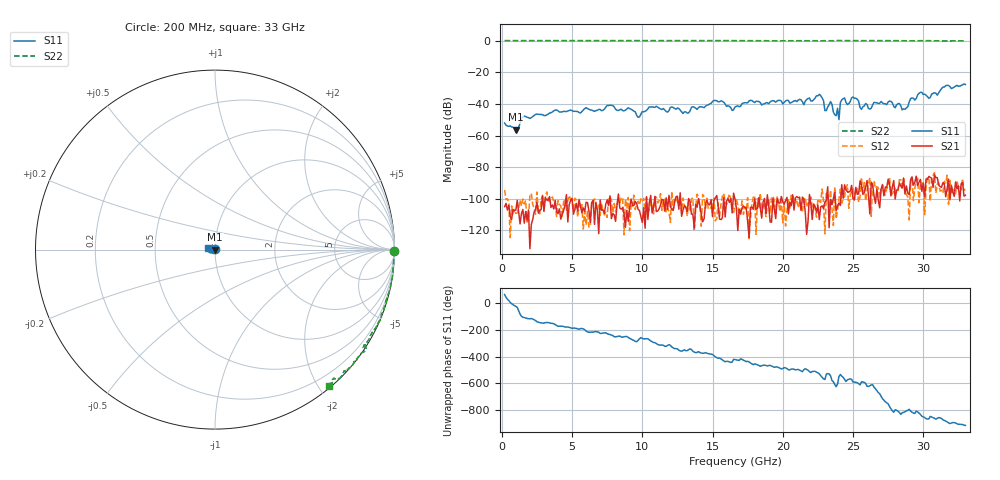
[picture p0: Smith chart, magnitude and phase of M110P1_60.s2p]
# GHZ S RI R 50
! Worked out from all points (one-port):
!   329 points, 200 MHz to 33 GHz, reference 50 ohm
!   lowest |S11| = -56.2 dB at 1 GHz (marker M1), VSWR 1.00, Z = 50.1 - j0.058 ohm
!   |S11| at or under -10 dB: start of sweep to end of sweep
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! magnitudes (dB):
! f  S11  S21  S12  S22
! 200 MHz  -52.1  -105.0  -94.4  0.0
! 1 GHz  -56.2  -107.1  -109.2  0.0
! 1.6 GHz  -47.7  -115.4  -103.3  0.0
! 5.7 GHz  -44.8  -108.8  -103.6  0.0
! 7.8 GHz  -40.9  -112.5  -100.6  0.0
! 9.7 GHz  -48.4  -106.5  -101.5  0.0
! 11.2 GHz  -42.7  -106.3  -101.1  0.0
! 16.6 GHz  -41.9  -100.2  -104.9  0.0
! 22.1 GHz  -38.2  -113.0  -105.8  -0.1
! 22.6 GHz  -34.0  -113.1  -101.6  -0.1
! 23 GHz  -44.2  -102.1  -122.1  0.0
! 23.4 GHz  -38.6  -100.4  -94.6  -0.1
! 23.7 GHz  -46.9  -95.8  -92.6  0.0
! 23.9 GHz  -42.8  -104.7  -106.9  0.0
! 24 GHz  -50.0  -102.6  -99.9  0.1
! 24.1 GHz  -39.1  -104.2  -93.9  0.1
! 24.4 GHz  -36.3  -91.1  -98.7  0.0
! 25.6 GHz  -43.5  -91.2  -86.5  0.0
! 27.6 GHz  -38.2  -90.6  -86.5  0.0
! 28.7 GHz  -43.4  -96.9  -95.5  -0.1
! 29.8 GHz  -32.7  -87.7  -90.1  -0.1
! 33 GHz  -27.7  -97.7  -94.3  -0.1
